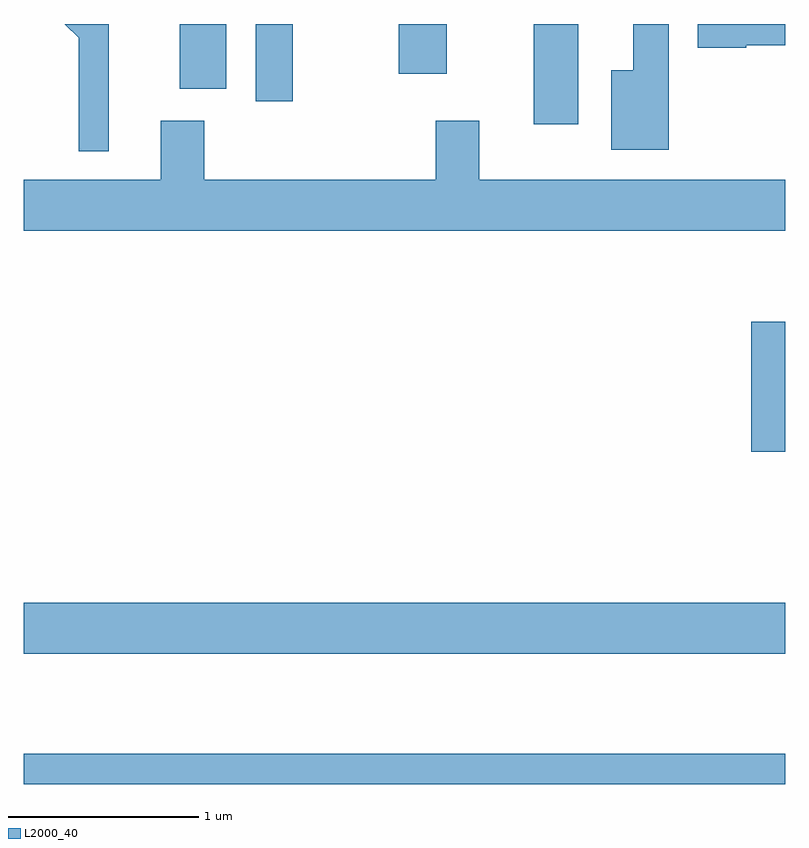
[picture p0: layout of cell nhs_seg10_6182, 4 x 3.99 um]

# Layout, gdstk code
import gdstk
lib = gdstk.Library(unit=1e-6, precision=1e-09)
def R(c, l, rs):  # rectangles x0, y0, x1, y1
    for r in rs: c.add(gdstk.rectangle(r[:2], r[2:], *l))
def P(c, l, *ps):  # polygons
    for p in ps: c.add(gdstk.Polygon(p, *l))
L2000_40 = (2000, 40)

nhs_seg10_6182 = lib.new_cell('nhs_seg10_6182')
R(nhs_seg10_6182, L2000_40, [(367.611,2146.531,371.611,2146.689), (367.611,2147.216,371.611,2147.484), (371.431,2148.276,371.611,2148.959), (370.291,2149.996,370.524,2150.522), (368.831,2150.116,369.024,2150.522), (368.431,2150.181,368.674,2150.522), (369.581,2150.261,369.834,2150.522)])
P(nhs_seg10_6182, L2000_40, [(368.059,2150.522),(367.828,2150.522),(367.901,2150.449),(367.901,2149.853),(368.059,2149.853)],
  [(370.999,2150.522),(370.811,2150.522),(370.811,2150.279),(370.696,2150.279),(370.696,2149.861),(370.999,2149.861)],
  [(371.405,2150.411),(371.611,2150.411),(371.611,2150.522),(371.151,2150.522),(371.151,2150.396),(371.405,2150.396)],
  [(371.611,2149.704),(370.004,2149.704),(370.004,2150.014),(369.776,2150.014),(369.776,2149.704),(368.559,2149.704),(368.559,2150.014),(368.331,2150.014),(368.331,2149.704),(367.611,2149.704),(367.611,2149.436),(371.611,2149.436)])

lib.write_gds('nhs_seg10_6182.gds')
